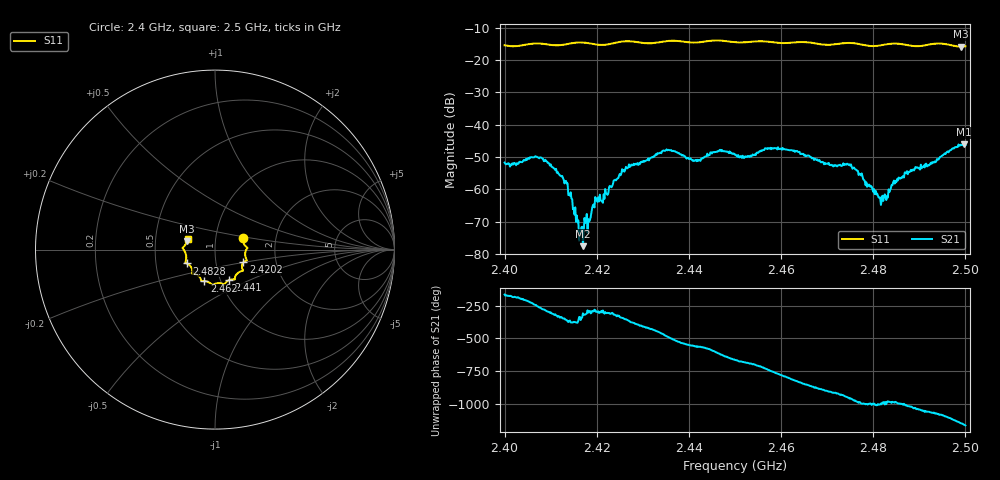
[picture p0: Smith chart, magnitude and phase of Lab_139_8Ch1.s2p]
# Hz S RI R 50
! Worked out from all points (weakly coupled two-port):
!   601 points, 2.4 GHz to 2.5 GHz, reference 50 ohm
!   highest |S21| = -46.02 dB at 2.4997 GHz (marker M1); lowest = -77.6 dB at 2.417 GHz (marker M2)
!   lowest |S11| = -15.8 dB at 2.499 GHz (marker M3), VSWR 1.39, Z = 36.4 + j3.49 ohm
!   |S11| at or under -10 dB: start of sweep to end of sweep
!   S12 and S22 are empty: the file has one direction only
!   S11 on the Smith chart (normalised r, x): 2.4 GHz: 1.36, +0.18; 2.4202 GHz: 1.36, -0.20; 2.441 GHz: 1.10, -0.39; 2.462 GHz: 0.84, -0.30; 2.4828 GHz: 0.72, -0.11; 2.5 GHz: 0.73, +0.09
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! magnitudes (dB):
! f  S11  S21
! 2.4 GHz  -15.4  -51.7
! 2.4065 GHz  -14.9  -50.0
! 2.4095 GHz  -15.2  -51.8
! 2.4132 GHz  -15.1  -57.4
! 2.4167 GHz  -14.5  -71.7
! 2.417 GHz  -14.6  -77.6
! 2.4202 GHz  -15.2  -63.9
! 2.426 GHz  -14.2  -54.5
! 2.4333 GHz  -14.5  -48.9
! 2.441 GHz  -14.6  -51.0
! 2.4467 GHz  -13.9  -47.8
! 2.45 GHz  -14.5  -49.3
! 2.462 GHz  -14.6  -47.9
! 2.4667 GHz  -14.6  -50.4
! 2.4748 GHz  -14.7  -52.3
! 2.4813 GHz  -15.5  -62.7
! 2.4828 GHz  -15.1  -63.3
! 2.4833 GHz  -15.0  -60.0
! 2.4873 GHz  -15.3  -54.4
! 2.499 GHz  -15.8  -46.2
! 2.4997 GHz  -15.8  -46.0
! 2.5 GHz  -15.7  -46.4
